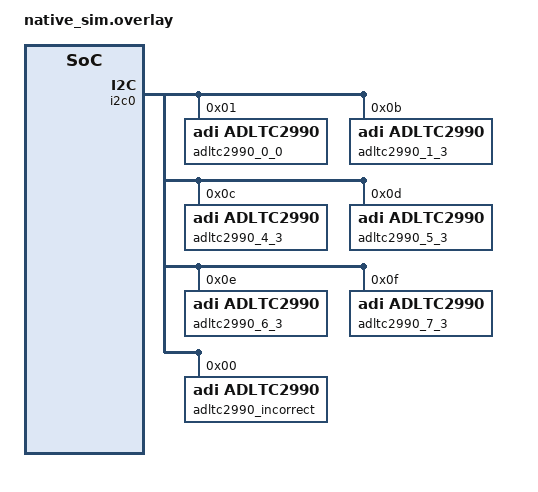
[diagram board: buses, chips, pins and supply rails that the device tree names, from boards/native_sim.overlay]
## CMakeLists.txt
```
# SPDX-FileCopyrightText: Copyright (c) 2023 Carl Zeiss Meditec AG
# SPDX-License-Identifier: Apache-2.0

cmake_minimum_required(VERSION 3.20.0)
find_package(Zephyr REQUIRED HINTS $ENV{ZEPHYR_BASE})
project(device)

target_sources(app PRIVATE src/main.c)
```

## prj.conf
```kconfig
# SPDX-FileCopyrightText: Copyright (c) 2023 Carl Zeiss Meditec AG
# SPDX-License-Identifier: Apache-2.0

CONFIG_ZTEST=y

# Set log levels
CONFIG_I2C_LOG_LEVEL_WRN=y
CONFIG_SENSOR_LOG_LEVEL_WRN=y

# Enable sensors
CONFIG_SENSOR=y

# Enable emulation
CONFIG_EMUL=y

# Enable Floating Point
CONFIG_FPU=y
```

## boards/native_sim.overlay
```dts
/*
 * SPDX-FileCopyrightText: Copyright (c) 2023 Carl Zeiss Meditec AG
 * SPDX-License-Identifier: Apache-2.0
 */

&i2c0 {
	adltc2990_0_0: adltc2990_0_0@1 {
		compatible = "adi,adltc2990";
		reg = <0x1>;
		measurement-mode = <0 0>;
		pins-v1-v2-current-resistor = <0>;
		pins-v3-v4-current-resistor = <0>;
		pin-v1-voltage-divider-resistors = <500 1000>;
		pin-v2-voltage-divider-resistors = <110000 100000>;
		pin-v3-voltage-divider-resistors = <7000 1000>;
		pin-v4-voltage-divider-resistors = <500 1000>;
	};

	adltc2990_1_3: adltc2990_1_3@b {
		compatible = "adi,adltc2990";
		reg = <0xb>;
		temperature-format = <0>;
		acquistion-format = <1>;
		measurement-mode = <1 3>;
		pins-v1-v2-current-resistor = <1000000>;
		pins-v3-v4-current-resistor = <0>;
		pin-v1-voltage-divider-resistors = <0 1>;
		pin-v2-voltage-divider-resistors = <0 1>;
		pin-v3-voltage-divider-resistors = <0 1>;
		pin-v4-voltage-divider-resistors = <0 1>;
	};

	adltc2990_4_3: adltc2990_4_3@c {
		compatible = "adi,adltc2990";
		reg = <0xc>;
		measurement-mode = <4 3>;
		pins-v1-v2-current-resistor = <1000000>;
		pins-v3-v4-current-resistor = <0>;
		pin-v1-voltage-divider-resistors = <0 1>;
		pin-v2-voltage-divider-resistors = <0 1>;
		pin-v3-voltage-divider-resistors = <0 1>;
		pin-v4-voltage-divider-resistors = <0 1>;
	};

	adltc2990_5_3: adltc2990_5_3@d {
		compatible = "adi,adltc2990";
		reg = <0xd>;
		temperature-format = <1>;
		acquistion-format = <1>;
		measurement-mode = <5 3>;
		pins-v1-v2-current-resistor = <1000000>;
		pins-v3-v4-current-resistor = <0>;
		pin-v1-voltage-divider-resistors = <0 1>;
		pin-v2-voltage-divider-resistors = <0 1>;
		pin-v3-voltage-divider-resistors = <0 1>;
		pin-v4-voltage-divider-resistors = <0 1>;
	};

	adltc2990_6_3: adltc2990_6_3@e {
		compatible = "adi,adltc2990";
		reg = <0xe>;
		temperature-format = <1>;
		acquistion-format = <1>;
		measurement-mode = <6 3>;
		pins-v1-v2-current-resistor = <10000>;
		pins-v3-v4-current-resistor = <100000>;
		pin-v1-voltage-divider-resistors = <500 1000>;
		pin-v2-voltage-divider-resistors = <110000 100000>;
		pin-v3-voltage-divider-resistors = <7000 1000>;
		pin-v4-voltage-divider-resistors = <500 1000>;
	};

	adltc2990_7_3: adltc2990_7_3@f {
		compatible = "adi,adltc2990";
		reg = <0xf>;
		temperature-format = <1>;
		acquistion-format = <1>;
		measurement-mode = <7 3>;
		pins-v1-v2-current-resistor = <0>;
		pins-v3-v4-current-resistor = <0>;
		pin-v1-voltage-divider-resistors = <500 1000>;
		pin-v2-voltage-divider-resistors = <110000 100000>;
		pin-v3-voltage-divider-resistors = <7000 1000>;
		pin-v4-voltage-divider-resistors = <500 1000>;
	};

	adltc2990_incorrect: adltc2990_incorrect@0 {
		compatible = "adi,adltc2990";
		reg = <0x0>;
		measurement-mode = <8 4>;
		pins-v1-v2-current-resistor = <0>;
		pins-v3-v4-current-resistor = <0>;
		pin-v1-voltage-divider-resistors = <500 1000>;
		pin-v2-voltage-divider-resistors = <110000 100000>;
		pin-v3-voltage-divider-resistors = <7000 1000>;
		pin-v4-voltage-divider-resistors = <500 1000>;
	};
};
```

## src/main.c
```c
/*
 * SPDX-FileCopyrightText: Copyright (c) 2023 Carl Zeiss Meditec AG
 * SPDX-License-Identifier: Apache-2.0
 */

#include <zephyr/devicetree.h>
#include <zephyr/drivers/emul.h>
#include <zephyr/drivers/gpio.h>
#include <zephyr/drivers/sensor.h>
#include <zephyr/ztest.h>

#include "adltc2990.h"
#include "adltc2990_emul.h"
#include "adltc2990_reg.h"

/* Colllection of common assertion macros */
#define CHECK_SINGLE_ENDED_VOLTAGE(sensor_val, index, pin_voltage, r1, r2)                         \
	zassert_ok(sensor_sample_fetch_chan(fixture->dev, SENSOR_CHAN_VOLTAGE));                   \
	zassert_ok(sensor_channel_get(fixture->dev, SENSOR_CHAN_VOLTAGE, sensor_val));             \
	zassert_between_inclusive(                                                                 \
		sensor_val[index].val1 + (float)sensor_val[index].val2 / 1000000,                  \
		(pin_voltage - 0.01f) * ((r1 + r2) / (float)r2),                                   \
		(pin_voltage + 0.01f) * ((r1 + r2) / (float)r2),                                   \
		"%f Out of Range [%f,%f] input %f, [%dmΩ, %dmΩ] "                                \
		"\nCheck if the sensor node is configured correctly",                              \
		(double)(sensor_val[index].val1 + (float)sensor_val[index].val2 / 1000000),        \
		(double)((pin_voltage - 0.01f) * ((r1 + r2) / (float)r2)),                         \
		(double)((pin_voltage + 0.01f) * ((r1 + r2) / (float)r2)), (double)pin_voltage,    \
		r1, r2);

#define CHECK_CURRENT(sensor_val, index, pin_voltage, r_microohms)                                 \
	zassert_ok(sensor_sample_fetch_chan(fixture->dev, SENSOR_CHAN_CURRENT));                   \
	zassert_ok(sensor_channel_get(fixture->dev, SENSOR_CHAN_CURRENT, sensor_val));             \
	zassert_between_inclusive(                                                                 \
		sensor_val[index].val1 + (float)sensor_val[index].val2 / 1000000,                  \
		(pin_voltage - 0.01f) * ADLTC2990_MICROOHM_CONVERSION_FACTOR / r_microohms,        \
		(pin_voltage + 0.01f) * ADLTC2990_MICROOHM_CONVERSION_FACTOR / r_microohms,        \
		"%f Out of Range [%f,%f] input %f, current-resistor: %dµΩ\nCheck if the sensor " \
		"node is configured correctly",                                                    \
		(double)(sensor_val[index].val1 + (float)sensor_val[index].val2 / 1000000),        \
		(double)((pin_voltage - 0.001f) * ADLTC2990_MICROOHM_CONVERSION_FACTOR /           \
			 r_microohms),                                                             \
		(double)((pin_voltage + 0.001f) * ADLTC2990_MICROOHM_CONVERSION_FACTOR /           \
			 r_microohms),                                                             \
		(double)pin_voltage, r_microohms);

#define CHECK_TEMPERATURE(sensor_val, index, expected_temperature, temperature_type)               \
	zassert_ok(sensor_sample_fetch_chan(fixture->dev, temperature_type));                      \
	zassert_ok(sensor_channel_get(fixture->dev, temperature_type, sensor_val));                \
	zassert_equal(expected_temperature,                                                        \
		      sensor_val[index].val1 + (float)sensor_val[index].val2 / 1000000,            \
		      "expected %f, got %f", (double)expected_temperature,                         \
		      (double)(sensor_val[index].val1 + (float)sensor_val[index].val2 / 1000000));

/*** TEST-SUITE: ADLTC2990 Measurement Mode 0 0***/

struct adltc2990_0_0_fixture {
	const struct device *dev;
	const struct emul *target;
};

static void *adltc2990_0_0_setup(void)
{
	static struct adltc2990_0_0_fixture fixture = {
		.dev = DEVICE_DT_GET(DT_NODELABEL(adltc2990_0_0)),
		.target = EMUL_DT_GET(DT_NODELABEL(adltc2990_0_0)),
	};

	zassert_not_null(fixture.dev);
	zassert_not_null(fixture.target);
	return &fixture;
}

static void adltc2990_0_0_before(void *f)
{
	struct adltc2990_0_0_fixture *fixture = f;

	adltc2990_emul_reset(fixture->target);
}

ZTEST_SUITE(adltc2990_0_0, NULL, adltc2990_0_0_setup, adltc2990_0_0_before, NULL, NULL);

ZTEST_F(adltc2990_0_0, test_measure_mode_internal_temperature_only)
{
	struct sensor_value value[1];

	zassert_equal(-ENOTSUP, sensor_sample_fetch_chan(fixture->dev, SENSOR_CHAN_MAGN_X));
	zassert_equal(-ENOTSUP, sensor_channel_get(fixture->dev, SENSOR_CHAN_MAGN_Z, value));
	zassert_equal(-EINVAL, sensor_channel_get(fixture->dev, SENSOR_CHAN_CURRENT, value));
	zassert_equal(-EINVAL, sensor_channel_get(fixture->dev, SENSOR_CHAN_AMBIENT_TEMP, value));
}

/*** TEST-SUITE: ADLTC2990 Measurement Mode 4 3***/

struct adltc2990_4_3_fixture {
	const struct device *dev;
	const struct emul *target;
};

static void *adltc2990_4_3_setup(void)
{
	static struct adltc2990_4_3_fixture fixture = {
		.dev = DEVICE_DT_GET(DT_NODELABEL(adltc2990_4_3)),
		.target = EMUL_DT_GET(DT_NODELABEL(adltc2990_4_3)),
	};

	zassert_not_null(fixture.dev);
	zassert_not_null(fixture.target);
	return &fixture;
}

static void adltc2990_4_3_before(void *f)
{
	struct adltc2990_4_3_fixture *fixture = f;

	adltc2990_emul_reset(fixture->target);
}

ZTEST_SUITE(adltc2990_4_3, NULL, adltc2990_4_3_setup, adltc2990_4_3_before, NULL, NULL);

ZTEST_F(adltc2990_4_3, test_available_channels)
{
	struct sensor_value value[3];

	zassert_equal(0, sensor_sample_fetch_chan(fixture->dev, SENSOR_CHAN_VOLTAGE));
	zassert_equal(0, sensor_channel_get(fixture->dev, SENSOR_CHAN_VOLTAGE, value));
	zassert_equal(0, sensor_sample_fetch_chan(fixture->dev, SENSOR_CHAN_AMBIENT_TEMP));
	zassert_equal(0, sensor_channel_get(fixture->dev, SENSOR_CHAN_AMBIENT_TEMP, value));
	zassert_equal(0, sensor_sample_fetch_chan(fixture->dev, SENSOR_CHAN_CURRENT));
	zassert_equal(0, sensor_channel_get(fixture->dev, SENSOR_CHAN_CURRENT, value));
}

/*** TEST-SUITE: ADLTC2990 Measurement Mode 1 3***/

struct adltc2990_1_3_fixture {
	const struct device *dev;
	const struct emul *target;
};

static void *adltc2990_1_3_setup(void)
{
	static struct adltc2990_1_3_fixture fixture = {
		.dev = DEVICE_DT_GET(DT_NODELABEL(adltc2990_1_3)),
		.target = EMUL_DT_GET(DT_NODELABEL(adltc2990_1_3)),
	};

	zassert_not_null(fixture.dev);
	zassert_not_null(fixture.target);
	return &fixture;
}

static void adltc2990_1_3_before(void *f)
{
	struct adltc2990_1_3_fixture *fixture = f;

	adltc2990_emul_reset(fixture->target);
}

ZTEST_SUITE(adltc2990_1_3, NULL, adltc2990_1_3_setup, adltc2990_1_3_before, NULL, NULL);

ZTEST_F(adltc2990_1_3, test_die_temperature)
{
	/* The following values are taken from datasheet and should translate to 125°c */
	uint8_t msb = 0b00000111, lsb = 0b11010000;

	adltc2990_emul_set_reg(fixture->target, ADLTC2990_REG_INTERNAL_TEMP_MSB, &msb);
	adltc2990_emul_set_reg(fixture->target, ADLTC2990_REG_INTERNAL_TEMP_LSB, &lsb);

	struct sensor_value temp_value[1];

	CHECK_TEMPERATURE(temp_value, 0, 125.00f, SENSOR_CHAN_DIE_TEMP);

	/*0b00011101 0b10000000 –40.0000*/
	msb = 0b00011101;
	lsb = 0b10000000;

	adltc2990_emul_set_reg(fixture->target, ADLTC2990_REG_INTERNAL_TEMP_MSB, &msb);
	adltc2990_emul_set_reg(fixture->target, ADLTC2990_REG_INTERNAL_TEMP_LSB, &lsb);

	CHECK_TEMPERATURE(temp_value, 0, -40.00f, SENSOR_CHAN_DIE_TEMP);
}

ZTEST_F(adltc2990_1_3, test_ambient_temperature)
{
	/* 0b00000001 0b10010001 +25.0625 */
	uint8_t msb = 0b00000001, lsb = 0b10010001;
	struct sensor_value temp_ambient[1];

	adltc2990_emul_set_reg(fixture->target, ADLTC2990_REG_V3_MSB, &msb);
	adltc2990_emul_set_reg(fixture->target, ADLTC2990_REG_V3_LSB, &lsb);

	CHECK_TEMPERATURE(temp_ambient, 0, 25.06250f, SENSOR_CHAN_AMBIENT_TEMP);
}

ZTEST_F(adltc2990_1_3, test_current)
{
	/* 0b00111100 0b01011000 +0.300 */
	uint8_t msb_reg_value = 0b00111100, lsb_reg_value = 0b01011000;

	adltc2990_emul_set_reg(fixture->target, ADLTC2990_REG_V1_MSB, &msb_reg_value);
	adltc2990_emul_set_reg(fixture->target, ADLTC2990_REG_V1_LSB, &lsb_reg_value);

	struct sensor_value current_values[1];
	const struct adltc2990_config *dev_config = fixture->target->dev->config;

	CHECK_CURRENT(current_values, 0, 0.3f, dev_config->pins_v1_v2.pins_current_resistor);

	/* 0b00100000 0b00000000 +0.159 */
	msb_reg_value = 0b00100000, lsb_reg_value = 0b00000000;
	adltc2990_emul_set_reg(fixture->target, ADLTC2990_REG_V1_MSB, &msb_reg_value);
	adltc2990_emul_set_reg(fixture->target, ADLTC2990_REG_V1_LSB, &lsb_reg_value);
	CHECK_CURRENT(current_values, 0, 0.159f, dev_config->pins_v1_v2.pins_current_resistor);
}

ZTEST_F(adltc2990_1_3, test_V1_MINUS_V2_VCC)
{
	uint8_t msb = 0b01100000, lsb = 0b00000000;

	adltc2990_emul_set_reg(fixture->target, ADLTC2990_REG_V1_MSB, &msb);
	adltc2990_emul_set_reg(fixture->target, ADLTC2990_REG_V1_LSB, &lsb);

	msb = 0b00000010;
	lsb = 0b10001111;
	adltc2990_emul_set_reg(fixture->target, ADLTC2990_REG_VCC_MSB, &msb);
	adltc2990_emul_set_reg(fixture->target, ADLTC2990_REG_VCC_LSB, &lsb);

	zassert_ok(sensor_sample_fetch_chan(fixture->dev, SENSOR_CHAN_VOLTAGE));

	struct sensor_value voltage_values[2];

	zassert_ok(sensor_channel_get(fixture->dev, SENSOR_CHAN_VOLTAGE, voltage_values));

	float test_value = voltage_values[0].val1 + (float)voltage_values[0].val2 / 1000000;

	zassert_between_inclusive(test_value, -0.16f, -0.159f, "Out of Range [-0.16,-0.159]%.6f",
				  (double)test_value);

	test_value = voltage_values[1].val1 + (float)voltage_values[1].val2 / 1000000;
	zassert_between_inclusive(test_value, 2.69f, 2.7f, "Out of Range [2.69, 2.7]%.6f",
				  (double)test_value);
}

/*** TEST-SUITE: ADLTC2990 Measurement Mode 5 3***/

struct adltc2990_5_3_fixture {
	const struct device *dev;
	const struct emul *target;
};

static void *adltc2990_5_3_setup(void)
{
	static struct adltc2990_5_3_fixture fixture = {
		.dev = DEVICE_DT_GET(DT_NODELABEL(adltc2990_5_3)),
		.target = EMUL_DT_GET(DT_NODELABEL(adltc2990_5_3)),
	};

	zassert_not_null(fixture.dev);
	zassert_not_null(fixture.target);
	return &fixture;
}

static void adltc2990_5_3_before(void *f)
{
	struct adltc2990_5_3_fixture *fixture = f;

	adltc2990_emul_reset(fixture->target);
}

ZTEST_SUITE(adltc2990_5_3, NULL, adltc2990_5_3_setup, adltc2990_5_3_before, NULL, NULL);

ZTEST_F(adltc2990_5_3, test_ambient_temperature)
{
	/*Kelvin 0b00010001 0b00010010 273.1250*/
	uint8_t msb = 0b00010001, lsb = 0b00010010;

	adltc2990_emul_set_reg(fixture->target, ADLTC2990_REG_V1_MSB, &msb);
	adltc2990_emul_set_reg(fixture->target, ADLTC2990_REG_V1_LSB, &lsb);

	struct sensor_value temp_value[2];

	CHECK_TEMPERATURE(temp_value, 0, 273.1250f, SENSOR_CHAN_AMBIENT_TEMP);

	/*Kelvin 0b00001110 0b10010010 233.125*/
	msb = 0b00001110;
	lsb = 0b10010010;
	adltc2990_emul_set_reg(fixture->target, ADLTC2990_REG_V3_MSB, &msb);
	adltc2990_emul_set_reg(fixture->target, ADLTC2990_REG_V3_LSB, &lsb);
	CHECK_TEMPERATURE(temp_value, 1, 233.1250f, SENSOR_CHAN_AMBIENT_TEMP);
}

ZTEST_F(adltc2990_5_3, test_die_temperature)
{
	/*0b00011000 0b11100010 398.1250*/
	uint8_t msb = 0b00011000, lsb = 0b11100010;

	adltc2990_emul_set_reg(fixture->target, ADLTC2990_REG_INTERNAL_TEMP_MSB, &msb);
	adltc2990_emul_set_reg(fixture->target, ADLTC2990_REG_INTERNAL_TEMP_LSB, &lsb);

	struct sensor_value temp_value[1];

	CHECK_TEMPERATURE(temp_value, 0, 398.1250f, SENSOR_CHAN_DIE_TEMP);
}

/*** TEST-SUITE: ADLTC2990 Measurement Mode 7 3***/

struct adltc2990_6_3_fixture {
	const struct device *dev;
	const struct emul *target;
};

static void *adltc2990_6_3_setup(void)
{
	static struct adltc2990_6_3_fixture fixture = {
		.dev = DEVICE_DT_GET(DT_NODELABEL(adltc2990_6_3)),
		.target = EMUL_DT_GET(DT_NODELABEL(adltc2990_6_3)),
	};

	zassert_not_null(fixture.dev);
	zassert_not_null(fixture.target);
	return &fixture;
}

static void adltc2990_6_3_before(void *f)
{
	struct adltc2990_6_3_fixture *fixture = f;

	adltc2990_emul_reset(fixture->target);
}

ZTEST_SUITE(adltc2990_6_3, NULL, adltc2990_6_3_setup, adltc2990_6_3_before, NULL, NULL);

ZTEST_F(adltc2990_6_3, test_current)
{
	/* 0b00111100 0b01011000 +0.300 */
	uint8_t msb_reg_value = 0b00111100, lsb_reg_value = 0b01011000;

	adltc2990_emul_set_reg(fixture->target, ADLTC2990_REG_V1_MSB, &msb_reg_value);
	adltc2990_emul_set_reg(fixture->target, ADLTC2990_REG_V1_LSB, &lsb_reg_value);

	struct sensor_value current_values[2];
	const struct adltc2990_config *dev_config = fixture->target->dev->config;

	CHECK_CURRENT(current_values, 0, 0.3f, dev_config->pins_v1_v2.pins_current_resistor);

	/* 0b00100000 0b00000000 +0.159 */
	msb_reg_value = 0b00100000, lsb_reg_value = 0b00000000;
	adltc2990_emul_set_reg(fixture->target, ADLTC2990_REG_V3_MSB, &msb_reg_value);
	adltc2990_emul_set_reg(fixture->target, ADLTC2990_REG_V3_LSB, &lsb_reg_value);
	CHECK_CURRENT(current_values, 1, 0.159f, dev_config->pins_v3_v4.pins_current_resistor);
}

/*** TEST-SUITE: ADLTC2990 Measurement Mode 7 3***/
struct adltc2990_7_3_fixture {
	const struct device *dev;
	const struct emul *target;
};

static void *adltc2990_7_3_setup(void)
{
	static struct adltc2990_7_3_fixture fixture = {
		.dev = DEVICE_DT_GET(DT_NODELABEL(adltc2990_7_3)),
		.target = EMUL_DT_GET(DT_NODELABEL(adltc2990_7_3)),
	};

	zassert_not_null(fixture.dev);
	zassert_not_null(fixture.target);
	return &fixture;
}

static void adltc2990_7_3_before(void *f)
{
	struct adltc2990_7_3_fixture *fixture = f;

	adltc2990_emul_reset(fixture->target);
}

ZTEST_SUITE(adltc2990_7_3, NULL, adltc2990_7_3_setup, adltc2990_7_3_before, NULL, NULL);

ZTEST_F(adltc2990_7_3, test_available_channels)
{
	zassert_equal(-EINVAL, sensor_sample_fetch_chan(fixture->dev, SENSOR_CHAN_AMBIENT_TEMP));
	zassert_equal(-EINVAL, sensor_sample_fetch_chan(fixture->dev, SENSOR_CHAN_CURRENT));
}

ZTEST_F(adltc2990_7_3, test_is_device_busy)
{
	uint8_t is_busy = BIT(0);

	adltc2990_emul_set_reg(fixture->target, ADLTC2990_REG_STATUS, &is_busy);
	zassert_equal(-EBUSY, sensor_sample_fetch_chan(fixture->dev, SENSOR_CHAN_ALL));
	is_busy = 0;
	adltc2990_emul_set_reg(fixture->target, ADLTC2990_REG_STATUS, &is_busy);
	zassert_equal(0, sensor_sample_fetch_chan(fixture->dev, SENSOR_CHAN_ALL));
}

ZTEST_F(adltc2990_7_3, test_die_temperature)
{
	/* The following values are taken from datasheet and should translate to 398.1250K */

	uint8_t msb = 0b00011000, lsb = 0b11100010;

	adltc2990_emul_set_reg(fixture->target, ADLTC2990_REG_INTERNAL_TEMP_MSB, &msb);
	adltc2990_emul_set_reg(fixture->target, ADLTC2990_REG_INTERNAL_TEMP_LSB, &lsb);

	struct sensor_value *die_temp_value_null = (struct sensor_value *)NULL;

	zassert_equal(-EINVAL,
		      sensor_channel_get(fixture->dev, SENSOR_CHAN_ALL, die_temp_value_null));

	struct sensor_value die_temp_value[1];

	CHECK_TEMPERATURE(die_temp_value, 0, 398.1250f, SENSOR_CHAN_DIE_TEMP);
}

ZTEST_F(adltc2990_7_3, test_V1_V2_V3_V4_VCC)
{
	/* 0b00111111 0b11111111 >5 */
	uint8_t msb_reg_value = 0b00111111, lsb_reg_value = 0b11111111;

	adltc2990_emul_set_reg(fixture->target, ADLTC2990_REG_V1_MSB, &msb_reg_value);
	adltc2990_emul_set_reg(fixture->target, ADLTC2990_REG_V1_LSB, &lsb_reg_value);

	/* 0b00101100 0b11001101 3.500 */
	msb_reg_value = 0b00101100;
	lsb_reg_value = 0b11001101;
	adltc2990_emul_set_reg(fixture->target, ADLTC2990_REG_V2_MSB, &msb_reg_value);
	adltc2990_emul_set_reg(fixture->target, ADLTC2990_REG_V2_LSB, &lsb_reg_value);

	/* 0b00011111 0b11111111 2.500 */
	msb_reg_value = 0b00011111;
	lsb_reg_value = 0b11111111;
	adltc2990_emul_set_reg(fixture->target, ADLTC2990_REG_V3_MSB, &msb_reg_value);
	adltc2990_emul_set_reg(fixture->target, ADLTC2990_REG_V3_LSB, &lsb_reg_value);

	/* 0b01111100 0b00101001 –0.300 */
	msb_reg_value = 0b01111100;
	lsb_reg_value = 0b00101001;
	adltc2990_emul_set_reg(fixture->target, ADLTC2990_REG_V4_MSB, &msb_reg_value);
	adltc2990_emul_set_reg(fixture->target, ADLTC2990_REG_V4_LSB, &lsb_reg_value);

	/* VCC = 6V */
	msb_reg_value = 0b00101100;
	lsb_reg_value = 0b11001101;
	adltc2990_emul_set_reg(fixture->target, ADLTC2990_REG_VCC_MSB, &msb_reg_value);
	adltc2990_emul_set_reg(fixture->target, ADLTC2990_REG_VCC_LSB, &lsb_reg_value);

	struct sensor_value voltage_values[5];

	const struct adltc2990_config *dev_config = fixture->dev->config;

	CHECK_SINGLE_ENDED_VOLTAGE(voltage_values, 0, 5.0f,
				   dev_config->pins_v1_v2.voltage_divider_resistors.v1_r1_r2[0],
				   dev_config->pins_v1_v2.voltage_divider_resistors.v1_r1_r2[1]);

	CHECK_SINGLE_ENDED_VOLTAGE(voltage_values, 1, 3.5f,
				   dev_config->pins_v1_v2.voltage_divider_resistors.v2_r1_r2[0],
				   dev_config->pins_v1_v2.voltage_divider_resistors.v2_r1_r2[1]);

	CHECK_SINGLE_ENDED_VOLTAGE(voltage_values, 2, 2.5f,
				   dev_config->pins_v3_v4.voltage_divider_resistors.v3_r1_r2[0],
				   dev_config->pins_v3_v4.voltage_divider_resistors.v3_r1_r2[1]);

	CHECK_SINGLE_ENDED_VOLTAGE(voltage_values, 3, -0.3f,
				   dev_config->pins_v3_v4.voltage_divider_resistors.v4_r1_r2[0],
				   dev_config->pins_v3_v4.voltage_divider_resistors.v4_r1_r2[1]);

	double test_value = voltage_values[4].val1 + (double)voltage_values[4].val2 / 1000000;

	zassert_between_inclusive(test_value, 6.0, 6.1, "Out of Range [6.0,6.1] %.6f",
				  (double)test_value);

	zassert_equal(6, voltage_values[4].val1);
}

/*** TEST-SUITE: ADLTC2990 Measurement Mode Incorrect***/
struct adltc2990_incorrect_fixture {
	const struct device *dev;
	const struct emul *target;
};

static void *adltc2990_incorrect_setup(void)
{
	static struct adltc2990_incorrect_fixture fixture = {
		.dev = DEVICE_DT_GET(DT_NODELABEL(adltc2990_incorrect)),
		.target = EMUL_DT_GET(DT_NODELABEL(adltc2990_incorrect)),
	};

	zassert_not_null(fixture.dev);
	zassert_not_null(fixture.target);
	return &fixture;
}

static void adltc2990_incorrect_before(void *f)
{
	struct adltc2990_incorrect_fixture *fixture = f;

	adltc2990_emul_reset(fixture->target);
}

ZTEST_SUITE(adltc2990_incorrect, NULL, adltc2990_incorrect_setup, adltc2990_incorrect_before, NULL,
	    NULL);

ZTEST_F(adltc2990_incorrect, test_current_cannot_be_measured)
{
	struct sensor_value current[1];

	zassert_equal(-EINVAL, sensor_channel_get(fixture->dev, SENSOR_CHAN_CURRENT, current));
}
```
